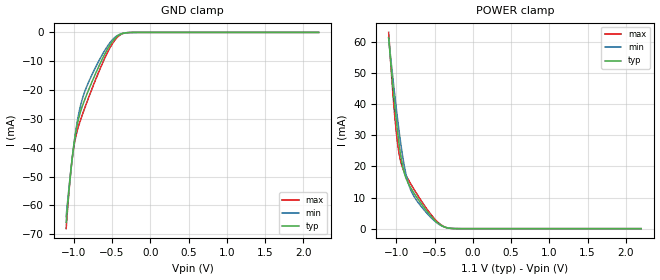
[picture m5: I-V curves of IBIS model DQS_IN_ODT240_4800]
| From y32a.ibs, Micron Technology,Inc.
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| MODEL DQS_IN_ODT240_4800 (Data Strobe Input with 240ohm ODT, 4800Mbps)
[Model]   DQS_IN_ODT240_4800
Model_type   Input
Vinl = 780.000mV
Vinh = 980.000mV
|   typ   min   max
|C_comp   0.848pF   0.798pF   0.898pF
C_comp_power_clamp   0.424pF   0.399pF   0.449pF
C_comp_gnd_clamp   0.424pF   0.399pF   0.449pF
| Note: C_comp changes when the ODT circuit is enabled.
[Voltage Range]   1.1000V   1.0450V   1.1550V
| Junction Temperature (Ambient temp is 35C typ, 95C min, 0C max)
[Temperature Range]   50.0   110.0   0.0
[Add Submodel]
| Submodel Name   Mode
240ohm_ODT_4800   Non-Driving
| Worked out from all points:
|   GND clamp passes 1 mA (typ) near -0.41 V on its own axis
|   POWER clamp passes 1 mA (typ) near -0.41 V on its own axis
[GND Clamp]
|   Voltage   I(typ)   I(min)   I(max)
-1.1V     -65.86mA   -63.87mA   -68.03mA
-1.052V   -51.54mA   -51.15mA   -51.82mA
-1.028V   -45.32mA   -45.33mA   -45.45mA
-1.007V   -40.58mA   -40.64mA   -41.04mA
-953mV    -31.69mA   -30.68mA   -33.89mA
-890mV    -25.67mA   -23.2mA    -28.65mA
-803mV    -19.72mA   -17.01mA   -22.38mA
-629mV    -9.326mA   -7.769mA   -10.93mA
-506mV    -3.557mA   -2.893mA   -4.359mA
-416mV    -1.036mA   -862.8uA   -1.304mA
-239mV    -18.66uA   -22.35uA   -16.43uA
2.2V      0A         0A         0A
[POWER Clamp]
|   Voltage   I(typ)   I(min)   I(max)
-1.1V     61.39mA    61.23mA    63.06mA
-1.052V   47.92mA    50.02mA    45.99mA
-1.007V   36.47mA    40.11mA    32.76mA
-968mV    28.02mA    32.2mA     24.82mA
-932mV    22.03mA    25.71mA    20.66mA
-875mV    16.36mA    17.66mA    17.19mA
-845mV    14.63mA    14.76mA    15.83mA
-800mV    12.64mA    11.8mA     13.92mA
-626mV    6.417mA    5.683mA    7.203mA
-431mV    1.328mA    1.234mA    1.517mA
-227mV    18.27uA    26.29uA    16.77uA
2.2V      0A         0A         0A
